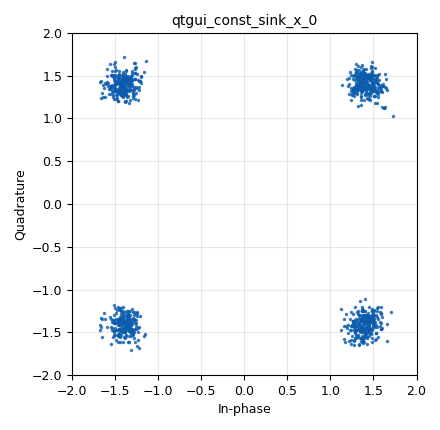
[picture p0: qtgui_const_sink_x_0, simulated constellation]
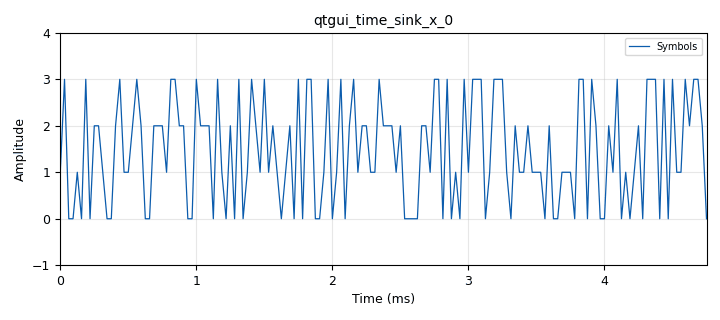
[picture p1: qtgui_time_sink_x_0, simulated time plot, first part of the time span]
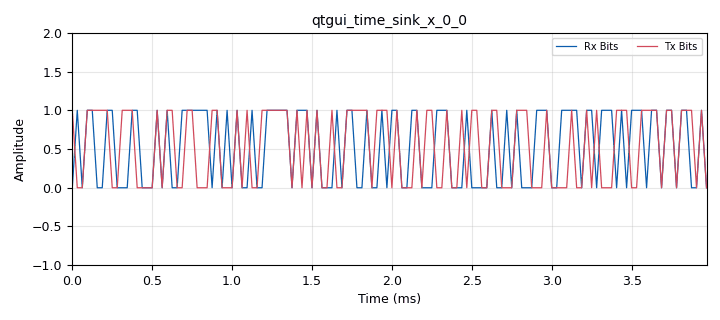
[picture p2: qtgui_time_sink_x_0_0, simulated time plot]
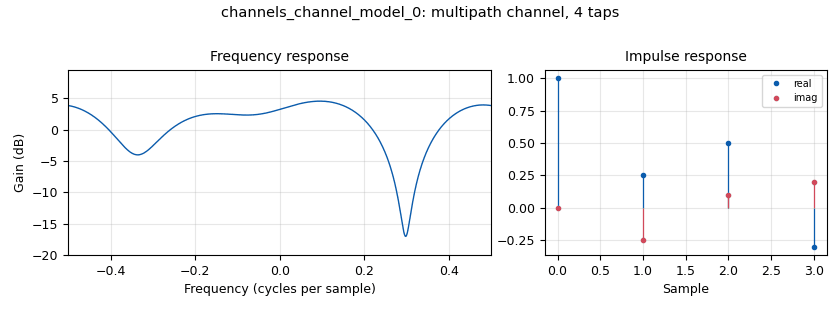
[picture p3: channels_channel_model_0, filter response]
options:
  parameters:
    category: Custom
    generate_options: qt_gui
    id: mpsk_stage6
    output_language: python
    title: mpsk_stage6.grc
  states: {}

blocks:
- name: arity
  id: variable
  parameters:
    value: '4'
  states: {}
- name: delay
  id: variable_qtgui_range
  parameters:
    gui_hint: 1,0,1,1
    label: Delay
    start: '0'
    step: '1'
    stop: '200'
    value: '58'
  states: {}
- name: eq_gain
  id: variable_qtgui_range
  parameters:
    gui_hint: 'controls@1: 0,1,1,1'
    label: 'Equalizer: rate'
    start: '0.0'
    step: '0.001'
    stop: '0.1'
    value: '0.01'
    widget: slider
  states: {}
- name: excess_bw
  id: variable
  parameters:
    value: '0.35'
  states: {}
- name: freq_offset
  id: variable_qtgui_range
  parameters:
    gui_hint: 'controls@0: 0,1,1,1'
    label: Frequency Offset
    start: '-0.1'
    step: '0.001'
    stop: '0.1'
    value: '0'
  states: {}
- name: nfilts
  id: variable
  parameters:
    value: '32'
  states: {}
- name: noise_volt
  id: variable_qtgui_range
  parameters:
    gui_hint: 'controls@0: 0,0,1,1'
    label: Noise Voltage
    start: '0'
    step: '0.01'
    stop: '1'
    value: '0.001'
  states: {}
- name: opsk
  id: variable_constellation
  parameters:
    precision: '8'
    type: 8psk
  states: {}
- name: phase_bw
  id: variable_qtgui_range
  parameters:
    gui_hint: 'controls@1: 0,2,1,1'
    label: 'Phase: Bandwidth'
    start: '0.0'
    step: '0.01'
    stop: '1.0'
    value: 6.28/100.0
    widget: slider
  states: {}
- name: qpsk
  id: variable_constellation_rect
  parameters:
    const_points: '[0.707+0.707j, -0.707+0.707j, -0.707-0.707j, 0.707-0.707j]'
    imag_sect: '2'
    real_sect: '2'
    rot_sym: '4'
    sym_map: '[0, 1, 2, 3]'
    w_imag_sect: '1'
    w_real_sect: '1'
  states: {}
- name: rrc_taps
  id: variable
  parameters:
    value: firdes.root_raised_cosine(nfilts, nfilts, 1.0/float(sps), 0.35, 11*sps*nfilts)
  states: {}
- name: samp_rate
  id: variable
  parameters:
    value: '32000'
  states: {}
- name: sps
  id: variable
  parameters:
    value: '4'
  states: {}
- name: taps
  id: variable
  parameters:
    value: '[1.0, 0.25-0.25j, 0.50 + 0.10j, -0.3 + 0.2j]'
  states: {}
- name: time_offset
  id: variable_qtgui_range
  parameters:
    gui_hint: 'controls@0: 0,2,1,1'
    label: Timing Offset
    start: '0.999'
    step: '0.0001'
    stop: '1.001'
    value: '1.00'
  states: {}
- name: timing_loop_bw
  id: variable_qtgui_range
  parameters:
    gui_hint: 'controls@1: 0,0,1,1'
    label: 'Time: BW'
    start: '0.0'
    step: '0.01'
    stop: '0.2'
    value: 6.28/100.0
    widget: slider
  states: {}
- name: variable_adaptive_algorithm_0
  id: variable_adaptive_algorithm
  parameters:
    cons: qpsk
    modulus: '4'
    step_size: '.0001'
    type: cma
  states: {}
- name: analog_random_source_x_0
  id: analog_random_source_x
  parameters:
    max: '255'
    min: '0'
    num_samps: '1000'
    repeat: 'True'
    type: byte
  states: {}
- name: blocks_char_to_float_0
  id: blocks_char_to_float
  parameters:
    scale: '1'
  states: {}
- name: blocks_char_to_float_0_0
  id: blocks_char_to_float
  parameters:
    scale: '1'
  states: {}
- name: blocks_char_to_float_0_0_0
  id: blocks_char_to_float
  parameters:
    scale: '1'
  states: {}
- name: blocks_delay_0
  id: blocks_delay
  parameters:
    delay: int(delay)
    type: float
  states: {}
- name: blocks_file_sink_0
  id: blocks_file_sink
  parameters:
    file: source.txt
    type: byte
    unbuffered: 'True'
  states: {state: disabled}
- name: blocks_throttle_0
  id: blocks_throttle
  parameters:
    samples_per_second: samp_rate
    type: complex
  states: {}
- name: blocks_unpack_k_bits_bb_0
  id: blocks_unpack_k_bits_bb
  parameters:
    k: '2'
  states: {}
- name: blocks_unpack_k_bits_bb_0_0
  id: blocks_unpack_k_bits_bb
  parameters:
    k: '8'
  states: {}
- name: channels_channel_model_0
  id: channels_channel_model
  parameters:
    epsilon: time_offset
    freq_offset: freq_offset
    noise_voltage: noise_volt
    seed: '0'
    taps: taps
  states: {}
- name: controls
  id: qtgui_tab_widget
  parameters:
    gui_hint: 0,0,1,2
    label0: Channel
    label1: Receiver
    num_tabs: '2'
  states: {}
- name: digital_constellation_decoder_cb_0
  id: digital_constellation_decoder_cb
  parameters:
    constellation: qpsk
  states: {}
- name: digital_constellation_modulator_0
  id: digital_constellation_modulator
  parameters:
    constellation: qpsk
    differential: 'True'
    excess_bw: excess_bw
    samples_per_symbol: sps
  states: {}
- name: digital_costas_loop_cc_0
  id: digital_costas_loop_cc
  parameters:
    order: arity
    w: phase_bw
  states: {}
- name: digital_diff_decoder_bb_0
  id: digital_diff_decoder_bb
  parameters:
    coding: digital.DIFF_DIFFERENTIAL
    modulus: '4'
  states: {}
- name: digital_linear_equalizer_0
  id: digital_linear_equalizer
  parameters:
    alg: variable_adaptive_algorithm_0
    num_taps: '15'
    sps: '2'
  states: {}
- name: digital_map_bb_0
  id: digital_map_bb
  parameters:
    map: '[0,1,2,3]'
  states: {}
- name: digital_symbol_sync_xx_0
  id: digital_symbol_sync_xx
  parameters:
    constellation: digital.constellation_qpsk().base()
    damping: '1.0'
    loop_bw: '0.045'
    max_dev: '1.5'
    osps: '2'
    resamp_type: digital.IR_MMSE_8TAP
    sps: sps
    ted_gain: '1.0'
    ted_type: digital.TED_MUELLER_AND_MULLER
    type: cc
  states: {}
- name: network_tcp_sink_0
  id: network_tcp_sink
  parameters:
    addr: 127.0.0.1
    mode: '1'
    port: '3000'
    type: byte
  states: {state: disabled}
- name: network_tcp_source_0
  id: network_tcp_source
  parameters:
    addr: 127.0.0.1
    port: '2000'
    server: 'True'
    type: byte
  states: {state: disabled}
- name: note_0
  id: note
  parameters:
    comment: |-
      The CMA equalizer has been
      replaced by a Linear Equalizer
      and an Adaptive Algorithm for
      version 3.9
    note: CMA equalizer replaced
  states: {}
- name: qtgui_const_sink_x_0
  id: qtgui_const_sink_x
  parameters:
    gui_hint: 'received@0: 0,0,1,1'
    size: '1024'
    type: complex
  states: {}
- name: qtgui_time_sink_x_0
  id: qtgui_time_sink_x
  parameters:
    gui_hint: 'received@1: 0,0,1,1'
    label1: Symbols
    name: ''
    size: '500'
    srate: samp_rate
    type: float
    ymax: '4'
  states: {}
- name: qtgui_time_sink_x_0_0
  id: qtgui_time_sink_x
  parameters:
    gui_hint: 2,1,1,1
    label1: Rx Bits
    label2: Tx Bits
    name: ''
    nconnections: '2'
    size: '128'
    srate: samp_rate
    tr_mode: qtgui.TRIG_MODE_AUTO
    type: float
    ymax: '2'
  states: {}
- name: received
  id: qtgui_tab_widget
  parameters:
    gui_hint: 2,0,1,1
    label0: Constellation
    label1: Symbols
    num_tabs: '2'
  states: {}

connections:
- [analog_random_source_x_0, '0', blocks_unpack_k_bits_bb_0_0, '0']
- [analog_random_source_x_0, '0', digital_constellation_modulator_0, '0']
- [blocks_char_to_float_0, '0', qtgui_time_sink_x_0, '0']
- [blocks_char_to_float_0_0, '0', qtgui_time_sink_x_0_0, '0']
- [blocks_char_to_float_0_0_0, '0', blocks_delay_0, '0']
- [blocks_delay_0, '0', qtgui_time_sink_x_0_0, '1']
- [blocks_throttle_0, '0', channels_channel_model_0, '0']
- [blocks_unpack_k_bits_bb_0, '0', blocks_char_to_float_0_0, '0']
- [blocks_unpack_k_bits_bb_0, '0', network_tcp_sink_0, '0']
- [blocks_unpack_k_bits_bb_0_0, '0', blocks_char_to_float_0_0_0, '0']
- [channels_channel_model_0, '0', digital_symbol_sync_xx_0, '0']
- [digital_constellation_decoder_cb_0, '0', blocks_char_to_float_0, '0']
- [digital_constellation_decoder_cb_0, '0', digital_diff_decoder_bb_0, '0']
- [digital_constellation_modulator_0, '0', blocks_throttle_0, '0']
- [digital_costas_loop_cc_0, '0', digital_constellation_decoder_cb_0, '0']
- [digital_costas_loop_cc_0, '0', qtgui_const_sink_x_0, '0']
- [digital_diff_decoder_bb_0, '0', digital_map_bb_0, '0']
- [digital_linear_equalizer_0, '0', digital_costas_loop_cc_0, '0']
- [digital_map_bb_0, '0', blocks_unpack_k_bits_bb_0, '0']
- [digital_symbol_sync_xx_0, '0', digital_linear_equalizer_0, '0']
- [network_tcp_source_0, '0', blocks_file_sink_0, '0']
- [network_tcp_source_0, '0', blocks_unpack_k_bits_bb_0_0, '0']
- [network_tcp_source_0, '0', digital_constellation_modulator_0, '0']

metadata:
  file_format: 1
